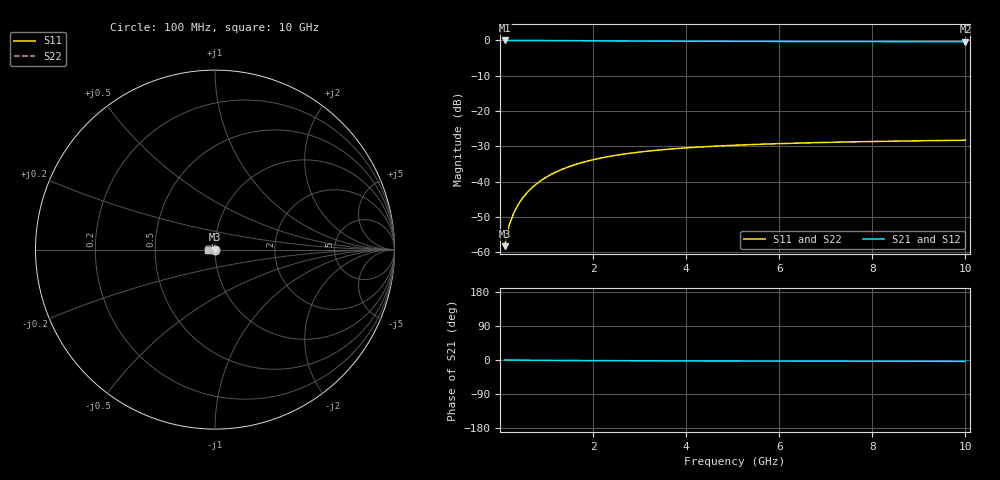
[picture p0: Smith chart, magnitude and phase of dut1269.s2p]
! Touchstone file exported from HFSS 2024.1.0
!  File:  C:/UserFiles/LocalFiles/RDL_TSV_Batchsim/temp_TSV1_1269_1780254240.aedt
!  Generated:  03:10:01 AM Jun  1, 2026
!  Design:  TSV1
!  Project:  temp_TSV1_1269_1780254240
!  Setup:  Setup1
!  Solution:  Sweep
! Variables:
!  dtsv = 12.64um
!  hbump = 3um
!  htsv = 53.59um
!  lrdl = 252.1521522um
!  p = 40
!  p1 = 50.8um
!  t = 500um
!  trdl = 3um
!  wrdl = 24.89489489um
# GHz S MA R 50.000000
! Terminal data exported
! Port[1] = TSV22_T1
! Port[2] = TSV22_T2
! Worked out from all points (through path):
!   100 points, 100 MHz to 10 GHz, reference 50 ohm
!   highest |S21| = 0.00 dB at 100 MHz (marker M1); lowest = -0.3 dB at 10 GHz (marker M2)
!   lowest |S11| = -58.3 dB at 100 MHz (marker M3), VSWR 1.00, Z = 50 - j0.121 ohm
!   |S11| at or under -10 dB: start of sweep to end of sweep
!   |S22| runs from -58.3 to -28.3 dB; largest |S21 - S12| = 4.2e-15
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0.1  0.001211 -88.6  0.9999 -0.1  0.9999 -0.1  0.001211 -88.6
! Gamma 0 0 0 0
! Port Impedance 50 0 50 0
0.2  0.002419 -92.1  0.9997 -0.2  0.9997 -0.2  0.002419 -92.1
0.3  0.003624 -94.5  0.9995 -0.3  0.9995 -0.3  0.003624 -94.5
0.4  0.004819 -96.8  0.9992 -0.4  0.9992 -0.4  0.004819 -96.8
0.5  0.006001 -98.9  0.9988 -0.5  0.9988 -0.5  0.006001 -98.9
0.6  0.007163 -100.9  0.9984 -0.6  0.9984 -0.6  0.007163 -100.9
0.7  0.008304 -102.9  0.9979 -0.7  0.9979 -0.7  0.008304 -102.9
0.8  0.009419 -104.8  0.9973 -0.8  0.9973 -0.8  0.009419 -104.8
0.9  0.01051 -106.7  0.9967 -0.9  0.9967 -0.9  0.01051 -106.7
1.1  0.01259 -110.4  0.9954 -1.1  0.9954 -1.1  0.01259 -110.4
1.4  0.01548 -115.5  0.9931 -1.3  0.9931 -1.3  0.01548 -115.5
1.6  0.01723 -118.7  0.9915 -1.4  0.9915 -1.4  0.01723 -118.7
1.8  0.01886 -121.7  0.9899 -1.5  0.9899 -1.5  0.01886 -121.7
2.1  0.02105 -125.9  0.9875 -1.7  0.9875 -1.7  0.02105 -125.9
2.5  0.02357 -130.9  0.9844 -1.9  0.9844 -1.9  0.02357 -130.9
2.9  0.02568 -135.3  0.9816 -2.0  0.9816 -2.0  0.02568 -135.3
3.4  0.02786 -140.2  0.9784 -2.2  0.9784 -2.2  0.02786 -140.2
4.2  0.03056 -146.7  0.9742 -2.4  0.9742 -2.4  0.03056 -146.7
5.1  0.03277 -152.7  0.9706 -2.6  0.9706 -2.6  0.03277 -152.7
6.7  0.03543 -160.9  0.966 -2.9  0.966 -2.9  0.03543 -160.9
8.4  0.03726 -167.7  0.9629 -3.3  0.9629 -3.3  0.03726 -167.7
10  0.03848 -172.9  0.9609 -3.6  0.9609 -3.6  0.03848 -172.9
